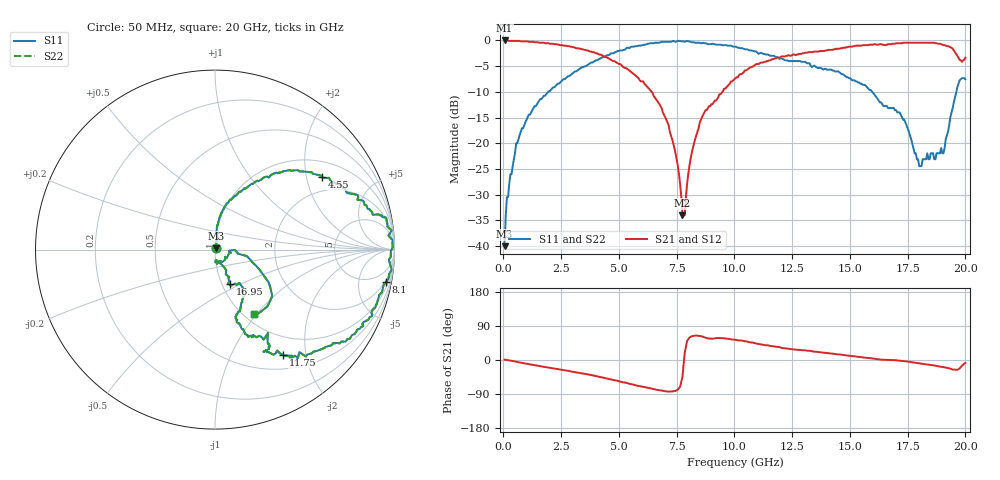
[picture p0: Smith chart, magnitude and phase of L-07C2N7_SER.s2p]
#	mhz	s	ma	r	50
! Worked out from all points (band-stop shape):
!   400 points, 50 MHz to 20 GHz, reference 50 ohm
!   highest |S21| = 0.00 dB at 50 MHz (marker M1); lowest = -34.0 dB at 7.75 GHz (marker M2)
!   |S21| within 3 dB of the highest: start of sweep to 4.31 GHz; 12.24 GHz to 19.65 GHz (7.414 GHz wide, 46.5 % of centre)
!   lowest |S11| = -40.0 dB at 50 MHz (marker M3), VSWR 1.02, Z = 50.6 + j0.837 ohm
!   |S11| at or under -10 dB: start of sweep to 1.931 GHz; 15.97 GHz to 19.61 GHz (3.64 GHz wide, 20.5 % of centre)
!   |S22| runs from -40.0 to -0.1 dB; largest |S21 - S12| = 0
!   S11 on the Smith chart (normalised r, x): 50 MHz: 1.01, +0.02; 4.55 GHz: 1.48, +2.48; 8.1 GHz: 2, -10; 11.75 GHz: 0.70, -1.61; 16.95 GHz: 1.09, -0.44; 20 GHz: 1.11, -0.97
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50  0.01 55.9  1 0.8  1 0.8  0.01 55.9
150  0.03 77.3  1 0.1  1 0.1  0.03 77.3
550  0.1 85.4  0.99 -4.9  0.99 -4.9  0.1 85.4
800  0.14 84.4  0.98 -7.6  0.98 -7.6  0.14 84.4
1600  0.27 75.2  0.95 -16.4  0.95 -16.4  0.27 75.2
3400  0.55 51.3  0.82 -35.4  0.82 -35.4  0.55 51.3
4550  0.72 34.0  0.67 -50.1  0.67 -50.1  0.72 34.0
6700  0.95 11.0  0.25 -79.4  0.25 -79.4  0.95 11.0
7450  0.97 4.6  0.08 -81.7  0.08 -81.7  0.97 4.6
7750  0.98 -1.5  0.02 -44.3  0.02 -44.3  0.98 -1.5
7850  0.97 -3.3  0.02 19.8  0.02 19.8  0.97 -3.3
8100  0.97 -10.7  0.07 61.0  0.07 61.0  0.97 -10.7
8750  0.94 -24.5  0.21 58.9  0.21 58.9  0.94 -24.5
10050  0.87 -36.9  0.43 53.4  0.43 53.4  0.87 -36.9
11750  0.7 -57.2  0.67 35.4  0.67 35.4  0.7 -57.2
13350  0.55 -57.5  0.77 23.3  0.77 23.3  0.55 -57.5
16700  0.22 -61.6  0.92 0.2  0.92 0.2  0.22 -61.6
16950  0.21 -66.8  0.93 -0.4  0.93 -0.4  0.21 -66.8
18100  0.06 -86.4  0.95 -9.6  0.95 -9.6  0.06 -86.4
19050  0.08 -4.5  0.9 -18.9  0.9 -18.9  0.08 -4.5
19650  0.35 -31.4  0.71 -25.8  0.71 -25.8  0.35 -31.4
20000  0.42 -58.7  0.68 -7.7  0.68 -7.7  0.42 -58.7
